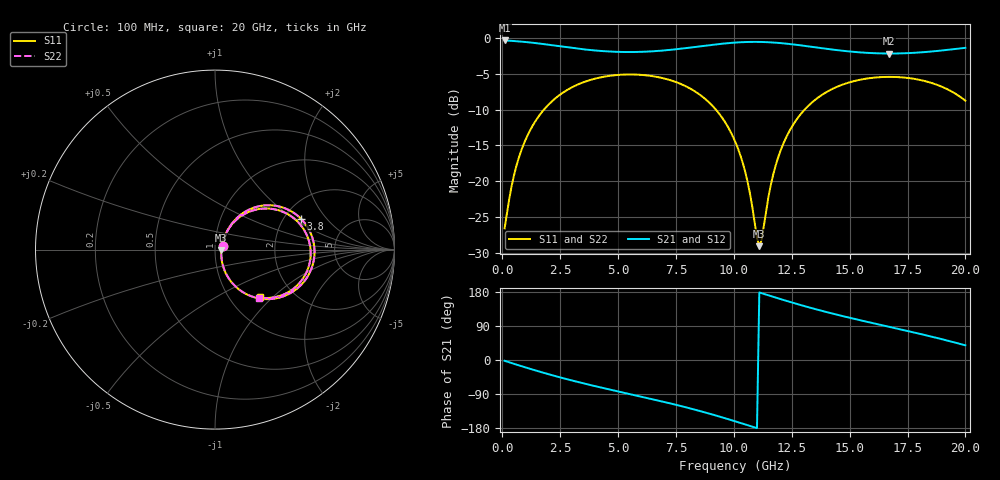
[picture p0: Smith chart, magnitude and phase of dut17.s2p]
! Touchstone file exported from HFSS 2026.1.0
!  File:  C:/ffzhzh/LocalFiles/Ansys_Project_Files/temp_train_TSV_RDL_17_1782962252_45748.aedt
!  Generated:  11:32:10 AM Jul  2, 2026
!  Design:  TSV_RDL
!  Project:  temp_train_TSV_RDL_17_1782962252_45748
! Variables:
!  h_bsmrdl = 3.39um
!  h_ox = 20um
!  h_rdl = 5um
!  h_sub = 54.2um
!  h_tmrdl = 2.78um
!  h_tsv = 54.2um
!  h_via = 3um
!  l_bsmrdl = 454.35um
!  l_sub = 5799.11um
!  l_tmrdl = 987.64um
!  m_sub = 200um
!  pitch = 36.12um
!  r_tsv = 4.82um
!  s_tmrdl = 10um
!  w_bsmrdl = 10.23um
!  w_sub = 500um
!  w_tmrdl = 18.27um
!  x_tsv_center1 = 996.775um
!  x_tsv_center2 = 1461.355um
!  x_tsv_center3 = 2467.265um
!  x_tsv_center4 = 2931.845um
!  x_tsv_center5 = 3937.755um
!  x_tsv_center6 = 4402.335um
# GHz S MA R 50.000000
! Terminal data exported
! Port[1] = TM_RDL1_1_T1
! Port[2] = TM_RDL5_1_T1
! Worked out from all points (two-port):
!   200 points, 100 MHz to 20 GHz, reference 50 ohm
!   highest |S21| = -0.38 dB at 100 MHz (marker M1); lowest = -2.2 dB at 16.7 GHz (marker M2)
!   |S21| within 3 dB of the highest: start of sweep to end of sweep
!   lowest |S11| = -29.0 dB at 11.1 GHz (marker M3), VSWR 1.07, Z = 53.6 - j0.413 ohm
!   |S11| at or under -10 dB: start of sweep to 1.803 GHz; 9.22 GHz to 13.06 GHz (3.842 GHz wide, 34.5 % of centre)
!   |S22| runs from -28.8 to -5.1 dB; largest |S21 - S12| = 1.6e-14
!   S11 on the Smith chart (normalised r, x): 100 MHz: 1.09, +0.04; 3.8 GHz: 2.45, +1.14; 20 GHz: 1.36, -0.84
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0.1  0.04698 24.3  0.9577 -2.1  0.9577 -2.1  0.04698 24.3
! Gamma 0 0 0 0
! Port Impedance 50 0 50 0
0.6  0.1263 56.5  0.9466 -12.0  0.9466 -12.0  0.1263 56.5
1.2  0.2263 54.6  0.9272 -23.3  0.9272 -23.3  0.2263 54.6
2.2  0.3676 42.0  0.8848 -40.9  0.8848 -40.9  0.3676 42.0
3.5  0.4895 24.0  0.831 -61.6  0.831 -61.6  0.4895 24.0
3.8  0.5081 19.9  0.8213 -66.0  0.8213 -66.0  0.5081 19.9
5.3  0.5542 0.3  0.7955 -87.0  0.7955 -87.0  0.5542 0.4
6.8  0.5288 -19.2  0.8113 -107.9  0.8113 -107.9  0.5288 -19.2
8.8  0.3703 -47.5  0.8822 -139.1  0.8822 -139.1  0.3704 -47.4
9.5  0.2764 -57.5  0.9092 -151.4  0.9092 -151.4  0.2765 -57.3
10.1  0.182 -64.4  0.9267 -162.6  0.9267 -162.6  0.1822 -64.1
10.6  0.09807 -63.7  0.9348 -172.1  0.9348 -172.1  0.09839 -63.2
11.1  0.03529 -6.2  0.9355 178.2  0.9355 178.2  0.03619 -6.2
11.2  0.03905 19.4  0.9348 176.3  0.9348 176.3  0.03986 18.9
11.6  0.09494 54.8  0.9289 168.6  0.9289 168.6  0.09527 54.3
12  0.1606 56.7  0.9187 161.1  0.9187 161.1  0.1608 56.4
12.6  0.2533 50.8  0.8974 150.1  0.8974 150.1  0.2534 50.6
13.4  0.3572 39.9  0.8632 136.3  0.8632 136.3  0.3572 39.8
15.1  0.4945 16.6  0.7995 110.0  0.7995 110.0  0.4946 16.5
16.7  0.5339 -3.9  0.7766 87.6  0.7766 87.6  0.5339 -4.0
18.5  0.4864 -26.9  0.8011 62.2  0.8011 62.2  0.4864 -27.0
20  0.3642 -47.0  0.8509 38.7  0.8509 38.7  0.3642 -47.1
